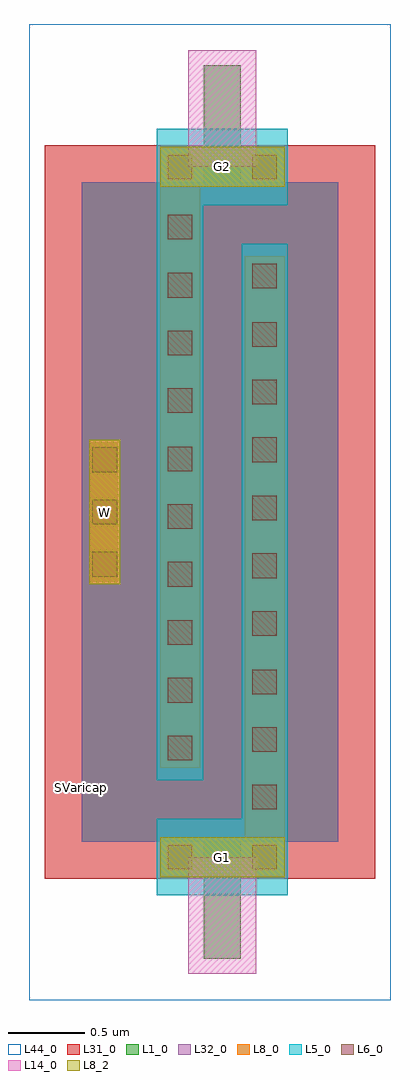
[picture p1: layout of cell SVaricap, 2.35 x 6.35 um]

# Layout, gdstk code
import gdstk
lib = gdstk.Library(unit=1e-6, precision=1e-09)
def R(c, l, rs):  # rectangles x0, y0, x1, y1
    for r in rs: c.add(gdstk.rectangle(r[:2], r[2:], *l))
def A(c, l, x, y, w, h, nx, ny, dx, dy):  # array of equal rectangles
    R(c, l, [(x+i*dx, y+j*dy, x+i*dx+w, y+j*dy+h) for i in range(nx) for j in range(ny)])
L1_0 = (1, 0)
L5_0 = (5, 0)
L6_0 = (6, 0)
L8_0 = (8, 0)
L8_2 = (8, 2)
L14_0 = (14, 0)
L31_0 = (31, 0)
L32_0 = (32, 0)
L44_0 = (44, 0)

svaricap = lib.new_cell('SVaricap')
R(svaricap, L1_0, [(1.035,-0.52,1.275,0.24), (0.24,0.24,1.91,4.53), (1.035,4.53,1.275,5.29)])
R(svaricap, L5_0, [(0.73,-0.11,1.58,0.39), (1.28,0.39,1.58,4.13), (0.73,0.64,1.03,4.38), (0.73,4.38,1.58,4.88)])
A(svaricap, L6_0, 1.35, 0.45, 0.16, 0.16, 1, 3, 0, 0.375)
A(svaricap, L6_0, 0.8, 0.77, 0.16, 0.16, 1, 3, 0, 0.375)
A(svaricap, L6_0, 1.35, 1.58, 0.16, 0.16, 1, 3, 0, 0.375)
A(svaricap, L6_0, 0.8, 1.9, 0.16, 0.16, 1, 3, 0, 0.375)
A(svaricap, L6_0, 0.31, 1.965, 0.16, 0.16, 1, 3, 0, 0.34)
A(svaricap, L6_0, 1.35, 2.71, 0.16, 0.16, 1, 3, 0, 0.375)
A(svaricap, L6_0, 0.8, 3.03, 0.16, 0.16, 1, 3, 0, 0.375)
R(svaricap, L6_0, [(0.8,0.06,0.96,0.22), (1.35,0.06,1.51,0.22), (1.35,3.84,1.51,4), (0.8,4.16,0.96,4.32), (0.8,4.55,0.96,4.71), (1.35,4.55,1.51,4.71)])
R(svaricap, L8_0, [(0.75,0.01,1.56,0.27), (0.75,0.01,1.56,0.27), (1.3,0.27,1.56,0.4), (1.3,0.4,1.56,4.05), (1.3,0.4,1.56,4.05), (0.75,0.72,1.01,4.37), (0.75,0.72,1.01,4.37), (0.29,1.915,0.49,2.855), (0.29,1.915,0.49,2.855), (0.75,4.37,1.01,4.5), (0.75,4.5,1.56,4.76), (0.75,4.5,1.56,4.76)])
R(svaricap, L8_2, [(0.75,0.01,1.56,0.27), (0.29,1.915,0.49,2.855), (0.75,4.5,1.56,4.76)])
R(svaricap, L14_0, [(0.935,-0.62,1.375,0.14), (0.935,4.63,1.375,5.39)])
R(svaricap, L31_0, [(0,0,2.15,4.77)])
R(svaricap, L32_0, [(0.24,0.24,1.91,4.53)])
R(svaricap, L44_0, [(-0.1,-0.79,2.25,5.56)])
svaricap.add(gdstk.Label('SVaricap', (0.24,0.59), layer=63, texttype=0))
svaricap.add(gdstk.Label('W', (0.39,2.385), layer=63, texttype=0))
svaricap.add(gdstk.Label('G2', (1.155,4.63), layer=63, texttype=0))
svaricap.add(gdstk.Label('G1', (1.155,0.14), layer=63, texttype=0))

lib.write_gds('SVaricap.gds')
